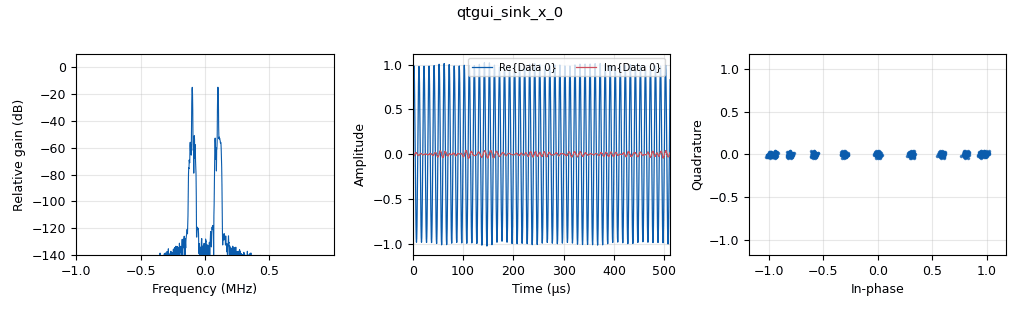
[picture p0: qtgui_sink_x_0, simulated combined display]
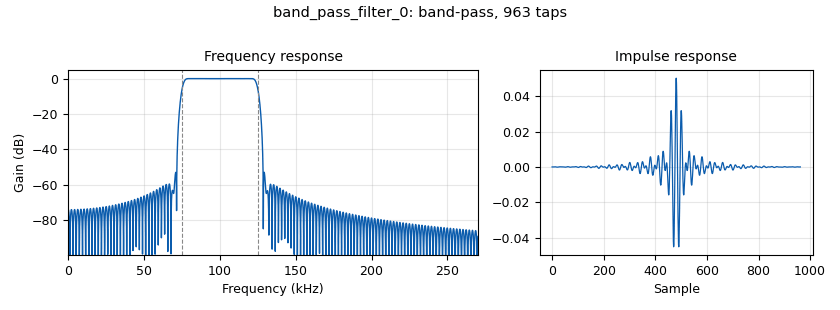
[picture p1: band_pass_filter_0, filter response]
options:
  parameters:
    author: ucanlab
    description: Introduce virtual source/sink and selector blocks
    generate_options: qt_gui
    id: GNURadio_Basics_03
    output_language: python
    title: 'GR Tutorial: Basics'
  states: {}

blocks:
- name: Sig_Type
  id: variable_qtgui_chooser
  parameters:
    gui_hint: 0,4,1,1
    label: Waveform
    label0: Cosine
    label1: Square
    num_opts: '2'
    option0: analog.GR_COS_WAVE
    option1: analog.GR_SQR_WAVE
    type: int
    value: analog.GR_COS_WAVE
  states: {}
- name: filter_select
  id: variable_qtgui_chooser
  parameters:
    gui_hint: 0,3,1,1
    label: Filter Selection
    label0: Enable
    label1: Bypass
    num_opts: '2'
    option0: '0'
    option1: '1'
    type: int
    value: '0'
  states: {}
- name: path_select
  id: variable_qtgui_chooser
  parameters:
    gui_hint: 0,2,1,1
    label: Source Signal
    label0: Real Sine
    label1: Complex Sine
    num_opts: '2'
    option0: '0'
    option1: '1'
    type: int
    value: '0'
  states: {}
- name: samp_rate
  id: variable
  parameters:
    value: '2000000'
  states: {}
- name: sig_freq
  id: variable_qtgui_range
  parameters:
    gui_hint: 0,0,1,2
    label: Signal Frequency
    orient: Qt.Horizontal
    start: 5e4
    step: 5e4
    stop: 5e5
    value: 1e5
  states: {}
- name: analog_const_source_x_0
  id: analog_const_source_x
  parameters:
    const: '0'
    type: float
  states: {}
- name: analog_noise_source_x_0
  id: analog_noise_source_x
  parameters:
    amp: '0.1'
    noise_type: analog.GR_GAUSSIAN
    seed: '0'
    type: complex
  states: {}
- name: analog_sig_source_x_0
  id: analog_sig_source_x
  parameters:
    amp: '1'
    freq: sig_freq
    offset: '0'
    phase: '0'
    samp_rate: samp_rate
    type: complex
    waveform: Sig_Type
  states: {}
- name: analog_sig_source_x_1
  id: analog_sig_source_x
  parameters:
    amp: '1'
    freq: sig_freq
    offset: '0'
    phase: '0'
    samp_rate: samp_rate
    type: float
    waveform: Sig_Type
  states: {}
- name: band_pass_filter_0
  id: band_pass_filter
  parameters:
    decim: '1'
    gain: '1'
    high_cutoff_freq: sig_freq + 25000
    low_cutoff_freq: sig_freq - 25000
    samp_rate: samp_rate
    type: fir_filter_ccf
    width: 5e3
    win: firdes.WIN_HAMMING
  states: {}
- name: blocks_add_xx_0
  id: blocks_add_xx
  parameters:
    type: complex
  states: {}
- name: blocks_float_to_complex_0
  id: blocks_float_to_complex
  parameters: {}
  states: {}
- name: blocks_selector_0
  id: blocks_selector
  parameters:
    enabled: 'True'
    input_index: path_select
    num_inputs: '2'
    num_outputs: '1'
    output_index: '0'
    type: complex
  states: {}
- name: blocks_selector_0_0
  id: blocks_selector
  parameters:
    enabled: 'True'
    input_index: filter_select
    num_inputs: '2'
    num_outputs: '1'
    output_index: '0'
    type: complex
  states: {}
- name: blocks_throttle_0
  id: blocks_throttle
  parameters:
    samples_per_second: samp_rate
    type: complex
  states: {}
- name: qtgui_sink_x_0
  id: qtgui_sink_x
  parameters:
    bw: samp_rate
    fc: '0'
    fftsize: '1024'
    gui_hint: 1,0,1,5
    type: complex
    wintype: firdes.WIN_BLACKMAN_hARRIS
  states: {}
- name: virtual_sink_0
  id: virtual_sink
  parameters:
    stream_id: Real_Sine
  states: {}
- name: virtual_sink_0_0
  id: virtual_sink
  parameters:
    stream_id: Complex_Sine
  states: {}
- name: virtual_source_0
  id: virtual_source
  parameters:
    stream_id: Real_Sine
  states: {}
- name: virtual_source_0_0
  id: virtual_source
  parameters:
    stream_id: Complex_Sine
  states: {}

connections:
- [analog_const_source_x_0, '0', blocks_float_to_complex_0, '1']
- [analog_noise_source_x_0, '0', blocks_add_xx_0, '1']
- [analog_sig_source_x_0, '0', virtual_sink_0_0, '0']
- [analog_sig_source_x_1, '0', blocks_float_to_complex_0, '0']
- [band_pass_filter_0, '0', blocks_selector_0_0, '0']
- [blocks_add_xx_0, '0', band_pass_filter_0, '0']
- [blocks_add_xx_0, '0', blocks_selector_0_0, '1']
- [blocks_float_to_complex_0, '0', virtual_sink_0, '0']
- [blocks_selector_0, '0', blocks_add_xx_0, '0']
- [blocks_selector_0_0, '0', blocks_throttle_0, '0']
- [blocks_throttle_0, '0', qtgui_sink_x_0, '0']
- [virtual_source_0, '0', blocks_selector_0, '0']
- [virtual_source_0_0, '0', blocks_selector_0, '1']

metadata:
  file_format: 1
